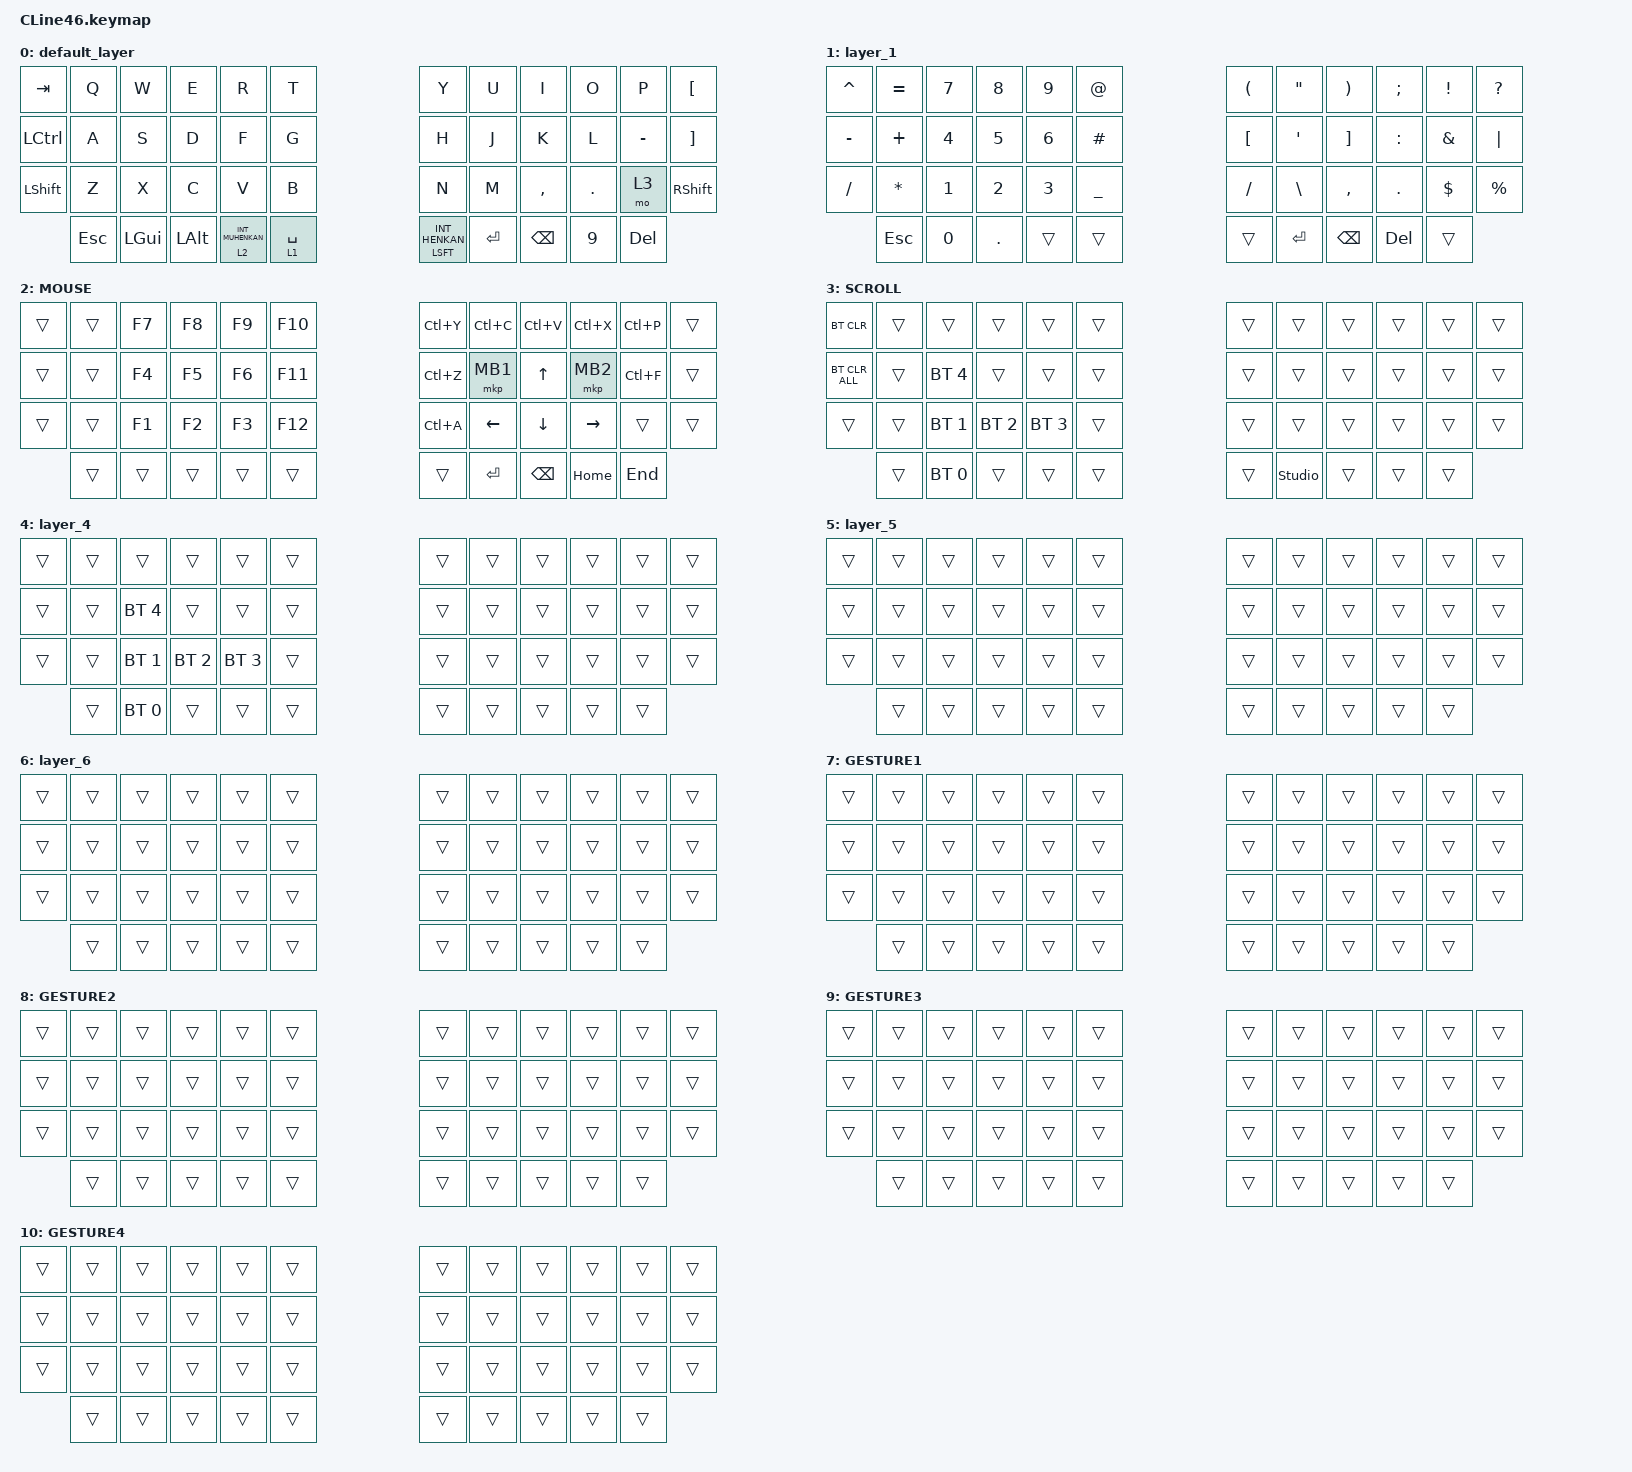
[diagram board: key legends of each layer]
#include <input/processors.dtsi>
#include <dt-bindings/zmk/input_transform.h>
#include <zephyr/dt-bindings/input/input-event-codes.h>
#include <behaviors.dtsi>
#include <behaviors/runtime_macro.dtsi>
// behaviors.dtsi より後ろに置くこと。&kp を配列シフト対応版へ差し替える。
// シフト状態が OFF の間は従来の &kp と同一の出力になる。
#include <layout_shift_kp_override.dtsi>
#include <dt-bindings/zmk/bt.h>
#include <dt-bindings/zmk/keys.h>
#include <dt-bindings/zmk/pointing.h>

&mt {
    flavor = "balanced";
    quick-tap-ms = <0>;
};

/ {
    combos {
        compatible = "zmk,combos";

        tab {
            bindings = <&kp TAB>;
            key-positions = <11 12>;
        };

        shift_tab {
            bindings = <&kp LS(TAB)>;
            key-positions = <12 13>;
        };
    };

    macros {
        to_layer_0: to_layer_0 {
            compatible = "zmk,behavior-macro-one-param";
            #binding-cells = <1>;
            bindings = <&to 0 &macro_param_1to1 &kp MACRO_PLACEHOLDER>;
            label = "TO_LAYER_0";
        };
    };

    behaviors {
        lt_to_layer_0: lt_to_layer_0 {
            compatible = "zmk,behavior-hold-tap";
            label = "LAYER_TAP_TO_0";
            bindings = <&mo>, <&to_layer_0>;

            #binding-cells = <2>;
            tapping-term-ms = <200>;
        };
    };

    keymap {
        compatible = "zmk,keymap";

        default_layer {
            bindings = <
&kp TAB      &kp Q     &kp W      &kp E     &kp R                &kp T                                            &kp Y     &kp U   &kp I       &kp O          &kp P       &kp LEFT_BRACKET
&kp LCTRL    &kp A     &kp S      &kp D     &kp F                &kp G                                            &kp H     &kp J   &kp K       &kp L          &kp MINUS   &kp RIGHT_BRACKET
&kp LSHIFT   &kp Z     &kp X      &kp C     &kp V                &kp B                                            &kp N     &kp M   &kp COMMA   &kp DOT        &mo 3       &kp RSHIFT
             &kp ESC   &kp LGUI   &kp LALT  &lt 2 INT_MUHENKAN   &lt 1 SPACE   &mt LSFT INT_HENKAN      &kp RET   &kp BSPC                      &kp NUMBER_9   &kp DEL  
            >;
        };

        
        layer_1 {
            bindings = <
&kp CARET   &kp EQUAL      &kp NUMBER_7   &kp NUMBER_8   &kp NUMBER_9   &kp AT_SIGN                            &kp LEFT_PARENTHESIS    &kp DOUBLE_QUOTES   &kp RIGHT_PARENTHESIS   &kp SEMI    &kp EXCLAMATION   &kp QMARK
&kp MINUS   &kp PLUS       &kp NUMBER_4   &kp NUMBER_5   &kp NUMBER_6   &kp HASH                               &kp LEFT_BRACKET        &kp SINGLE_QUOTE    &kp RIGHT_BRACKET       &kp COLON   &kp AMPERSAND     &kp PIPE
&kp SLASH   &kp ASTERISK   &kp NUMBER_1   &kp NUMBER_2   &kp NUMBER_3   &kp UNDERSCORE                         &kp SLASH               &kp BACKSLASH       &kp COMMA               &kp DOT     &kp DOLLAR        &kp PERCENT
            &kp ESC        &kp NUMBER_0   &kp DOT        &trans         &trans           &trans      &kp RET   &kp BSPC                                                            &kp DEL     &trans 
            >;
        };


        MOUSE {
            bindings = <
&trans   &trans   &kp F7   &kp F8   &kp F9   &kp F10                         &kp LC(Y)   &kp LC(C)        &kp LC(V)        &kp LC(X)         &kp LC(P)   &trans
&trans   &trans   &kp F4   &kp F5   &kp F6   &kp F11                         &kp LC(Z)   &mkp MB1         &kp UP_ARROW     &mkp MB2          &kp LC(F)   &trans
&trans   &trans   &kp F1   &kp F2   &kp F3   &kp F12                         &kp LC(A)   &kp LEFT_ARROW   &kp DOWN_ARROW   &kp RIGHT_ARROW   &trans      &trans
         &trans   &trans   &trans   &trans   &trans    &trans      &kp RET   &kp BSPC                                      &kp HOME          &kp END
            >;
        };


        SCROLL {
            bindings = <
&bt BT_CLR       &trans   &trans         &trans         &trans         &trans                                &trans   &trans   &trans   &trans   &trans   &trans
&bt BT_CLR_ALL   &trans   &bt BT_SEL 4   &trans         &trans         &trans                                &trans   &trans   &trans   &trans   &trans   &trans
&trans           &trans   &bt BT_SEL 1   &bt BT_SEL 2   &bt BT_SEL 3   &trans                                &trans   &trans   &trans   &trans   &trans   &trans
                 &trans   &bt BT_SEL 0   &trans         &trans         &trans   &trans      &studio_unlock   &trans                     &trans   &trans  
            >;
        };


        layer_4 {
            bindings = <
&trans   &trans   &trans         &trans         &trans         &trans                        &trans   &trans   &trans   &trans   &trans   &trans
&trans   &trans   &bt BT_SEL 4   &trans         &trans         &trans                        &trans   &trans   &trans   &trans   &trans   &trans
&trans   &trans   &bt BT_SEL 1   &bt BT_SEL 2   &bt BT_SEL 3   &trans                        &trans   &trans   &trans   &trans   &trans   &trans
         &trans   &bt BT_SEL 0   &trans         &trans         &trans   &trans      &trans   &trans                     &trans   &trans 
            >;
        };


        layer_5 {
            bindings = <
&trans   &trans   &trans   &trans   &trans   &trans                        &trans   &trans   &trans   &trans   &trans   &trans
&trans   &trans   &trans   &trans   &trans   &trans                        &trans   &trans   &trans   &trans   &trans   &trans
&trans   &trans   &trans   &trans   &trans   &trans                        &trans   &trans   &trans   &trans   &trans   &trans
         &trans   &trans   &trans   &trans   &trans   &trans      &trans   &trans                     &trans   &trans       
            >;
        };


        layer_6 {
            bindings = <
&trans   &trans   &trans   &trans   &trans   &trans                        &trans   &trans   &trans   &trans   &trans   &trans
&trans   &trans   &trans   &trans   &trans   &trans                        &trans   &trans   &trans   &trans   &trans   &trans
&trans   &trans   &trans   &trans   &trans   &trans                        &trans   &trans   &trans   &trans   &trans   &trans
         &trans   &trans   &trans   &trans   &trans   &trans      &trans   &trans                     &trans   &trans
            >;
        };


        // レイヤー7〜10 はマウスジェスチャー専用の新規レイヤー。
        // このレイヤーにいる間トラックボールはジェスチャー認識に占有され、
        // カーソルは動きません(CLine46_R.overlay の suppress-movement)。
        // 通常のキー入力は &trans のまま下位レイヤーに透過する。
        //
        // display-name は DYA Studio や設定ツールの一覧に出る名前。
        // これらのレイヤーを増やしたのはこのファームウェアなので、名前も
        // ここで付けておく。DYA Studio で変更するとそちらが保存され優先される。
        layer_7 {
            display-name = "GESTURE1";
            bindings = <
&trans   &trans   &trans   &trans   &trans   &trans                        &trans   &trans   &trans   &trans   &trans   &trans
&trans   &trans   &trans   &trans   &trans   &trans                        &trans   &trans   &trans   &trans   &trans   &trans
&trans   &trans   &trans   &trans   &trans   &trans                        &trans   &trans   &trans   &trans   &trans   &trans
         &trans   &trans   &trans   &trans   &trans   &trans      &trans   &trans                     &trans   &trans
            >;
        };


        layer_8 {
            display-name = "GESTURE2";
            bindings = <
&trans   &trans   &trans   &trans   &trans   &trans                        &trans   &trans   &trans   &trans   &trans   &trans
&trans   &trans   &trans   &trans   &trans   &trans                        &trans   &trans   &trans   &trans   &trans   &trans
&trans   &trans   &trans   &trans   &trans   &trans                        &trans   &trans   &trans   &trans   &trans   &trans
         &trans   &trans   &trans   &trans   &trans   &trans      &trans   &trans                     &trans   &trans
            >;
        };


        layer_9 {
            display-name = "GESTURE3";
            bindings = <
&trans   &trans   &trans   &trans   &trans   &trans                        &trans   &trans   &trans   &trans   &trans   &trans
&trans   &trans   &trans   &trans   &trans   &trans                        &trans   &trans   &trans   &trans   &trans   &trans
&trans   &trans   &trans   &trans   &trans   &trans                        &trans   &trans   &trans   &trans   &trans   &trans
         &trans   &trans   &trans   &trans   &trans   &trans      &trans   &trans                     &trans   &trans
            >;
        };


        layer_10 {
            display-name = "GESTURE4";
            bindings = <
&trans   &trans   &trans   &trans   &trans   &trans                        &trans   &trans   &trans   &trans   &trans   &trans
&trans   &trans   &trans   &trans   &trans   &trans                        &trans   &trans   &trans   &trans   &trans   &trans
&trans   &trans   &trans   &trans   &trans   &trans                        &trans   &trans   &trans   &trans   &trans   &trans
         &trans   &trans   &trans   &trans   &trans   &trans      &trans   &trans                     &trans   &trans
            >;
        };
    };
};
